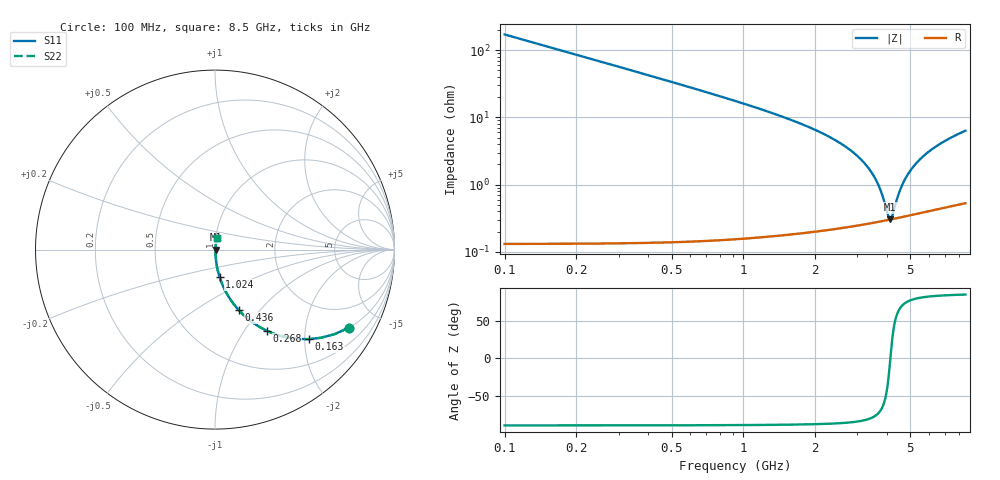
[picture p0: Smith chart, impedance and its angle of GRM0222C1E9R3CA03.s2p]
!Murata Part Number: GRM0222C1E9R3CA03
!These Parameters are Measured in Series Mode Connection
!Data Generated on Mar 30, 2021
!  o--ll--o
!Port1  Port2
!  o------o
!Operation Temp=25[degC], DC Bias Voltage=0[V]
!Freq. Start=100[MHz] Stop=9[GHz] 401[Steps]
# Hz S RI R 50
!Freq.(Hz) S11(Real) S11(Imag) S21(Real) S21(Imag) S12(Real) S12(Imag) S22(Real) S22(Imag)
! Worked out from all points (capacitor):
!   401 points, 100 MHz to 8.5 GHz, reference 50 ohm
!   read as one part in series: C = 9.3 pF near 142 MHz
!   lowest |Z| = 304 mohm at 4.111 GHz (marker M1)
!   series resonance near 4.123 GHz, so ESL is about 160 pH
!   S11 on the Smith chart (normalised r, x): 100 MHz: 1.00, -3.42; 163 MHz: 1.00, -2.10; 268 MHz: 1.00, -1.27; 436 MHz: 1.00, -0.78; 1.024 GHz: 1.00, -0.31; 8.5 GHz: 1.01, +0.13
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1e8  0.7451 -0.4354  0.2549 0.4354  0.2549 0.4354  0.7451 -0.4354
1.63e8  0.5235 -0.4988  0.4765 0.4988  0.4765 0.4988  0.5235 -0.4988
2.68e8  0.2882 -0.4519  0.7118 0.4519  0.7118 0.4519  0.2882 -0.4519
3.52e8  0.1895 -0.3905  0.8105 0.3905  0.8105 0.3905  0.1895 -0.3905
4.36e8  0.1317 -0.3364  0.8683 0.3364  0.8683 0.3364  0.1317 -0.3364
6.67e8  0.0598 -0.2343  0.9402 0.2343  0.9402 0.2343  0.0598 -0.2343
1.024e9  0.0254 -0.1523  0.9746 0.1523  0.9746 0.1523  0.0254 -0.1523
1.507e9  0.0112 -0.0967  0.9888 0.0967  0.9888 0.0967  0.0112 -0.0967
2.914e9  0.00325 -0.029  0.9967 0.029  0.9967 0.029  0.00325 -0.029
3.292e9  0.00294 -0.0185  0.9971 0.0185  0.9971 0.0185  0.00294 -0.0185
3.586e9  0.00288 -0.0114  0.9971 0.0114  0.9971 0.0114  0.00288 -0.0114
3.796e9  0.0029 -0.00674  0.9971 0.00674  0.9971 0.00674  0.0029 -0.00674
4.048e9  0.00299 -0.0015  0.997 0.0015  0.997 0.0015  0.00299 -0.0015
4.111e9  0.00302 -0.000241  0.997 0.000241  0.997 0.000241  0.00302 -0.000241
4.174e9  0.00305 0.000995  0.9969 -0.000995  0.9969 -0.000995  0.00305 0.000995
4.3e9  0.00313 0.00341  0.9969 -0.00341  0.9969 -0.00341  0.00313 0.00341
4.531e9  0.0033 0.00766  0.9967 -0.00766  0.9967 -0.00766  0.0033 0.00766
4.825e9  0.00356 0.0128  0.9964 -0.0128  0.9964 -0.0128  0.00356 0.0128
5.203e9  0.00396 0.019  0.996 -0.019  0.996 -0.019  0.00396 0.019
5.707e9  0.00458 0.0266  0.9954 -0.0266  0.9954 -0.0266  0.00458 0.0266
7.114e9  0.0067 0.0457  0.9933 -0.0457  0.9933 -0.0457  0.0067 0.0457
8.5e9  0.00917 0.0623  0.9908 -0.0623  0.9908 -0.0623  0.00917 0.0623
